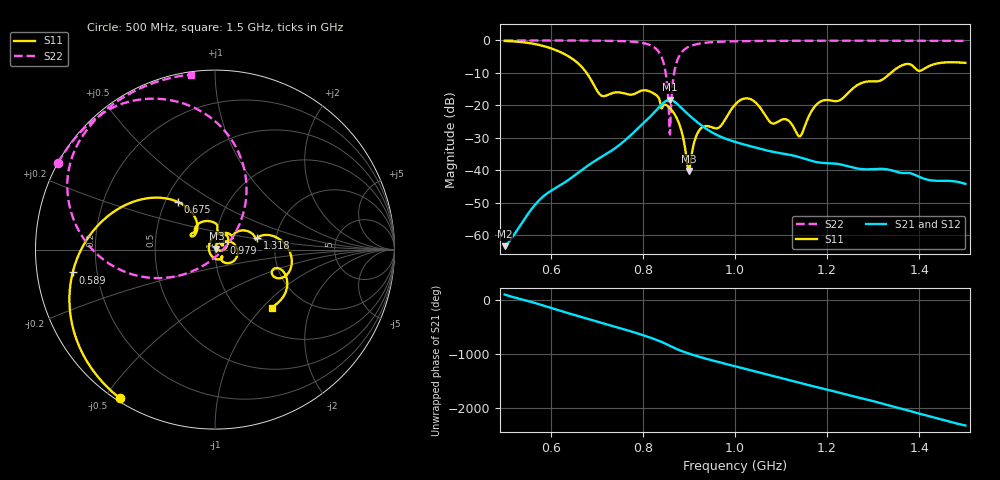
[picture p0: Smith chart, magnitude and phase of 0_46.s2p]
! TOUCHSTONE file generated by CST MICROWAVE STUDIO
! Date and time: Mon Sep 28 15:35:43 2020
! Project name: Scenario_1_Free_SPace.cst
! Parameters = {dx1=953; L_HA=400; MT=2.54; Rad_Dielectric=30; Rad_Lower=7.3; Rad_Upper=30; a_HA=580; a_WG=246; b_HA=500; b_WG=121; c_HA=0; c_WG=187; d_feed=85; h_feed=15; h_lower=18; h_upper=40}
! Header version: 2018
! Port assignment regex: !\s*Touchstone port\s*([0-9]+)\s*=\s*(CST MWS port|CST DS port)\s*([0-9]+|Zmin|Zmax)\s*\(\"(.*)\"\)(\s*mode\s*([0-9]+))?.*
! Touchstone port assignment:
! Touchstone port 1 = CST MWS port 1 ("")
! Touchstone port 2 = CST MWS port 2 ("")
# GHz S DB R 50
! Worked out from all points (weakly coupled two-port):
!   1003 points, 500 MHz to 1.5 GHz, reference 50 ohm
!   highest |S21| = -18.28 dB at 858 MHz (marker M1); lowest = -63.3 dB at 500 MHz (marker M2)
!   lowest |S11| = -40.2 dB at 900 MHz (marker M3), VSWR 1.02, Z = 50.8 + j0.62 ohm
!   |S11| at or under -10 dB: 677.9 MHz to 1.338 GHz (660.2 MHz wide, 65.5 % of centre)
!   |S22| runs from -28.9 to 0.0 dB; largest |S21 - S12| = 8.4e-06
!   S11 on the Smith chart (normalised r, x): 500 MHz: 0.01, -0.55; 589 MHz: 0.11, -0.08; 675 MHz: 0.58, +0.35; 979 MHz: 1.09, +0.09; 1.318 GHz: 1.60, +0.22; 1.5 GHz: 1.39, -1.13
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0.5  -0.15 -122.6  -63.35 94.7  -63.35 94.7  -0.01 151.1
0.589  -1.91 -170.9  -47.44 -122.0  -47.44 -122.0  -0.02 144.9
0.667  -8.10 133.6  -39.96 38.4  -39.96 38.4  -0.04 138.3
0.675  -9.44 128.0  -39.12 18.3  -39.12 18.3  -0.05 137.5
0.712  -17.10 139.4  -35.71 -74.7  -35.71 -74.7  -0.09 133.3
0.788  -16.04 135.5  -27.28 98.0  -27.28 98.0  -0.54 117.6
0.834  -17.59 84.3  -20.76 -37.4  -20.76 -37.4  -3.41 86.4
0.847  -19.75 50.8  -18.94 -85.1  -18.94 -85.1  -8.08 63.6
0.858  -20.72 36.3  -18.28 -130.8  -18.28 -130.8  -28.34 -12.3
0.874  -24.07 10.1  -19.47 165.4  -19.47 165.4  -6.46 -162.9
0.9  -40.20 38.6  -22.97 83.4  -22.97 83.4  -1.93 168.4
0.924  -27.40 58.0  -25.82 20.3  -25.82 20.3  -0.95 156.7
0.979  -24.25 40.6  -30.23 -105.1  -30.23 -105.1  -0.34 143.4
1  -19.79 23.3  -31.24 -151.0  -31.24 -151.0  -0.26 140.3
1.035  -18.16 -28.8  -32.63 132.1  -32.63 132.1  -0.19 136.0
1.077  -25.24 -52.4  -34.14 40.6  -34.14 40.6  -0.14 131.8
1.14  -29.53 -167.4  -35.96 -97.7  -35.96 -97.7  -0.10 126.3
1.167  -21.55 83.6  -37.13 -154.9  -37.13 -154.9  -0.09 124.2
1.318  -12.21 15.6  -39.54 -116.6  -39.54 -116.6  -0.09 112.7
1.334  -10.50 15.9  -39.79 -154.6  -39.79 -154.6  -0.09 111.5
1.371  -7.28 -8.4  -40.80 124.3  -40.80 124.3  -0.09 108.6
1.5  -6.91 -45.6  -44.15 -164.5  -44.14 -164.6  -0.14 97.9
